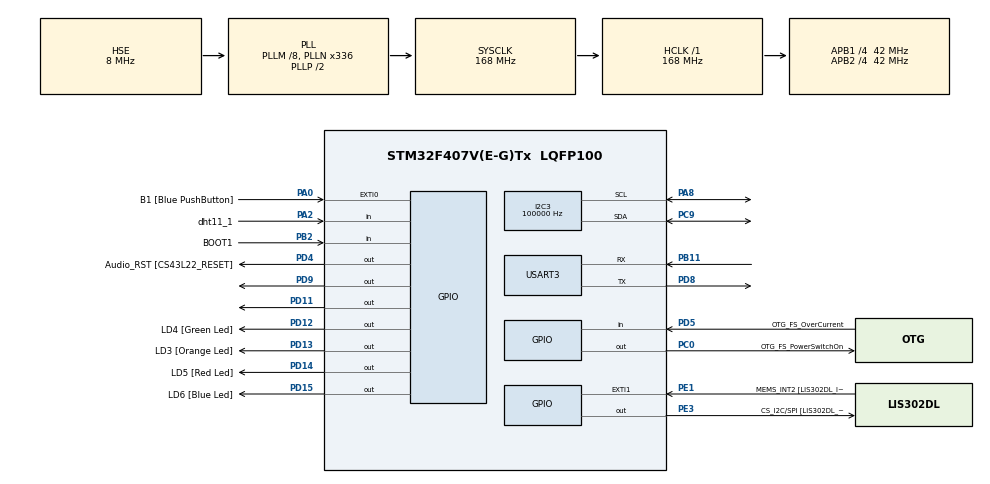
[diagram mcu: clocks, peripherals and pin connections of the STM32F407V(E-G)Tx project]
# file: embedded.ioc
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FREERTOS.Tasks01=defaultTask,0,128,StartDefaultTask,Default,NULL,Dynamic,NULL,NULL;myTask02,0,128,StartTask02,Default,NULL,Dynamic,NULL,NULL;alarmTrigTask,0,128,alarmTrigHandler,Default,NULL,Dynamic,NULL,NULL;dataLogTask,0,128,dataLogHandler,Default,NULL,Dynamic,NULL,NULL
I2C3.ClockSpeed=100000
Mcu.Family=STM32F4
Mcu.Name=STM32F407V(E-G)Tx
Mcu.Package=LQFP100
NVIC.PriorityGroup=NVIC_PRIORITYGROUP_4
NVIC.TIM3_IRQn=true\:5\:0\:false\:false\:true\:true\:true\:true
NVIC.USART3_IRQn=true\:5\:0\:false\:false\:true\:true\:true\:true
PA0-WKUP.GPIO_Label=B1 [Blue PushButton]
PA0-WKUP.GPIO_ModeDefaultEXTI=GPIO_MODE_EVT_RISING
PA0-WKUP.GPIO_PuPd=GPIO_NOPULL
PA0-WKUP.Signal=GPXTI0
PA10.GPIO_Label=OTG_FS_ID
PA10.GPIO_Mode=GPIO_MODE_AF_PP
PA10.GPIO_PuPd=GPIO_NOPULL
PA10.GPIO_Speed=GPIO_SPEED_FREQ_LOW
PA10.Signal=USB_OTG_FS_ID
PA11.GPIO_Label=OTG_FS_DM
PA11.GPIO_Mode=GPIO_MODE_AF_PP
PA11.GPIO_PuPd=GPIO_NOPULL
PA11.GPIO_Speed=GPIO_SPEED_FREQ_LOW
PA11.Signal=USB_OTG_FS_DM
PA12.GPIO_Label=OTG_FS_DP
PA12.GPIO_Mode=GPIO_MODE_AF_PP
PA12.GPIO_PuPd=GPIO_NOPULL
PA12.GPIO_Speed=GPIO_SPEED_FREQ_LOW
PA12.Signal=USB_OTG_FS_DP
PA13.GPIO_Label=SWDIO
PA13.Mode=Serial_Wire
PA13.Signal=SYS_JTMS-SWDIO
PA14.GPIO_Label=SWCLK
PA14.Mode=Serial_Wire
PA14.Signal=SYS_JTCK-SWCLK
PA2.GPIO_Label=dht11_1
PA2.Signal=GPIO_Input
PA4.GPIO_Label=I2S3_WS [CS43L22_LRCK]
PA4.GPIO_Mode=GPIO_MODE_AF_PP
PA4.GPIO_PuPd=GPIO_NOPULL
PA4.GPIO_Speed=GPIO_SPEED_FREQ_LOW
PA4.Signal=I2S3_WS
PA5.GPIO_Label=SPI1_SCK [LIS302DL_SCL/SPC]
PA5.GPIO_Mode=GPIO_MODE_AF_PP
PA5.GPIO_PuPd=GPIO_NOPULL
PA5.GPIO_Speed=GPIO_SPEED_FREQ_LOW
PA5.Signal=SPI1_SCK
PA6.GPIO_Label=SPI1_MISO [LIS302DL_SDO]
PA6.GPIO_Mode=GPIO_MODE_AF_PP
PA6.GPIO_PuPd=GPIO_NOPULL
PA6.GPIO_Speed=GPIO_SPEED_FREQ_LOW
PA6.Signal=SPI1_MISO
PA7.GPIO_Label=SPI1_MOSI [LIS302DL_SDA/SDI/SDO]
PA7.GPIO_Mode=GPIO_MODE_AF_PP
PA7.GPIO_PuPd=GPIO_NOPULL
PA7.GPIO_Speed=GPIO_SPEED_FREQ_LOW
PA7.Signal=SPI1_MOSI
PA8.Mode=I2C
PA8.Signal=I2C3_SCL
PA9.GPIO_Label=VBUS_FS
PA9.GPIO_Mode=GPIO_MODE_INPUT
PA9.GPIO_PuPd=GPIO_NOPULL
PA9.Signal=USB_OTG_FS_VBUS
PB10.GPIO_Label=CLK_IN [MP45DT02_CLK]
PB10.GPIO_Mode=GPIO_MODE_AF_PP
PB10.GPIO_PuPd=GPIO_NOPULL
PB10.GPIO_Speed=GPIO_SPEED_FREQ_LOW
PB10.Signal=I2S2_CK
PB11.Mode=Asynchronous
PB11.Signal=USART3_RX
PB2.GPIO_Label=BOOT1
PB2.GPIO_Mode=GPIO_MODE_INPUT
PB2.GPIO_PuPd=GPIO_NOPULL
PB2.Signal=GPIO_Input
PB3.GPIO_Label=SWO
PB3.Signal=SYS_JTDO-SWO
PB6.GPIO_Label=Audio_SCL [CS43L22_SCL]
PB6.GPIO_Mode=GPIO_MODE_AF_OD
PB6.GPIO_Pu=GPIO_PULLUP
PB6.GPIO_PuPd=GPIO_NOPULL
PB6.GPIO_Speed=GPIO_SPEED_FREQ_LOW
PB6.Signal=I2C1_SCL
PB9.GPIO_Label=Audio_SDA [CS43L22_SDA]
PB9.GPIO_Mode=GPIO_MODE_AF_OD
PB9.GPIO_Pu=GPIO_PULLUP
PB9.GPIO_PuPd=GPIO_NOPULL
PB9.GPIO_Speed=GPIO_SPEED_FREQ_LOW
PB9.Signal=I2C1_SDA
PC0.GPIO_Label=OTG_FS_PowerSwitchOn
PC0.GPIO_PuPd=GPIO_NOPULL
PC0.GPIO_Speed=GPIO_SPEED_FREQ_LOW
PC0.PinState=GPIO_PIN_SET
PC0.Signal=GPIO_Output
PC10.GPIO_Label=I2S3_SCK [CS43L22_SCLK]
PC10.GPIO_Mode=GPIO_MODE_AF_PP
PC10.GPIO_PuPd=GPIO_NOPULL
PC10.GPIO_Speed=GPIO_SPEED_FREQ_LOW
PC10.Signal=I2S3_CK
PC12.GPIO_Label=I2S3_SD [CS43L22_SDIN]
PC12.GPIO_Mode=GPIO_MODE_AF_PP
PC12.GPIO_PuPd=GPIO_NOPULL
PC12.GPIO_Speed=GPIO_SPEED_FREQ_LOW
PC12.Signal=I2S3_SD
PC14-OSC32_IN.GPIO_Label=PC14-OSC32_IN
PC14-OSC32_IN.Mode=LSE-External-Oscillator
PC14-OSC32_IN.Signal=RCC_OSC32_IN
PC15-OSC32_OUT.GPIO_Label=PC15-OSC32_OUT
PC15-OSC32_OUT.Mode=LSE-External-Oscillator
PC15-OSC32_OUT.Signal=RCC_OSC32_OUT
PC3.GPIO_Label=PDM_OUT [MP45DT02_DOUT]
PC3.GPIO_Mode=GPIO_MODE_AF_PP
PC3.GPIO_PuPd=GPIO_NOPULL
PC3.GPIO_Speed=GPIO_SPEED_FREQ_LOW
PC3.Signal=I2S2_SD
PC7.GPIO_Label=I2S3_MCK [CS43L22_MCLK]
PC7.GPIO_Mode=GPIO_MODE_AF_PP
PC7.GPIO_PuPd=GPIO_NOPULL
PC7.GPIO_Speed=GPIO_SPEED_FREQ_LOW
PC7.Signal=I2S3_MCK
PC9.Mode=I2C
PC9.Signal=I2C3_SDA
PD11.Signal=GPIO_Output
PD12.GPIO_Label=LD4 [Green Led]
PD12.GPIO_PuPd=GPIO_NOPULL
PD12.GPIO_Speed=GPIO_SPEED_FREQ_LOW
PD12.Signal=GPIO_Output
PD13.GPIO_Label=LD3 [Orange Led]
PD13.GPIO_PuPd=GPIO_NOPULL
PD13.GPIO_Speed=GPIO_SPEED_FREQ_LOW
PD13.Signal=GPIO_Output
PD14.GPIO_Label=LD5 [Red Led]
PD14.GPIO_PuPd=GPIO_NOPULL
PD14.GPIO_Speed=GPIO_SPEED_FREQ_LOW
PD14.Signal=GPIO_Output
PD15.GPIO_Label=LD6 [Blue Led]
PD15.GPIO_PuPd=GPIO_NOPULL
PD15.GPIO_Speed=GPIO_SPEED_FREQ_LOW
PD15.Signal=GPIO_Output
PD4.GPIO_Label=Audio_RST [CS43L22_RESET]
PD4.GPIO_PuPd=GPIO_NOPULL
PD4.GPIO_Speed=GPIO_SPEED_FREQ_LOW
PD4.Signal=GPIO_Output
PD5.GPIO_Label=OTG_FS_OverCurrent
PD5.GPIO_Mode=GPIO_MODE_INPUT
PD5.GPIO_PuPd=GPIO_NOPULL
PD5.Signal=GPIO_Input
PD8.Mode=Asynchronous
PD8.Signal=USART3_TX
PD9.Signal=GPIO_Output
PE1.GPIO_Label=MEMS_INT2 [LIS302DL_INT2]
PE1.GPIO_ModeDefaultEXTI=GPIO_MODE_EVT_RISING
PE1.GPIO_PuPd=GPIO_NOPULL
PE1.Signal=GPXTI1
PE3.GPIO_Label=CS_I2C/SPI [LIS302DL_CS_I2C/SPI]
PE3.GPIO_PuPd=GPIO_NOPULL
PE3.GPIO_Speed=GPIO_SPEED_FREQ_LOW
PE3.Signal=GPIO_Output
PH0-OSC_IN.GPIO_Label=PH0-OSC_IN
PH0-OSC_IN.Mode=HSE-External-Oscillator
PH0-OSC_IN.Signal=RCC_OSC_IN
PH1-OSC_OUT.GPIO_Label=PH1-OSC_OUT
PH1-OSC_OUT.Mode=HSE-External-Oscillator
PH1-OSC_OUT.Signal=RCC_OSC_OUT
ProjectManager.HeapSize=0x200
ProjectManager.StackSize=0x400
ProjectManager.TargetToolchain=EWARM V8.32
RCC.48MHZClocksFreq_Value=48000000
RCC.AHBFreq_Value=168000000
RCC.APB1CLKDivider=RCC_HCLK_DIV4
RCC.APB1Freq_Value=42000000
RCC.APB1TimFreq_Value=84000000
RCC.APB2CLKDivider=RCC_HCLK_DIV4
RCC.APB2Freq_Value=42000000
RCC.APB2TimFreq_Value=84000000
RCC.CortexFreq_Value=168000000
RCC.HCLKFreq_Value=168000000
RCC.HSE_VALUE=8000000
RCC.HSI_VALUE=16000000
RCC.PLLM=8
RCC.PLLN=336
RCC.PLLQ=7
RCC.PLLSourceVirtual=RCC_PLLSOURCE_HSE
RCC.RCC_RTC_Clock_SourceVirtual=RCC_RTCCLKSOURCE_LSE
RCC.SYSCLKFreq_VALUE=168000000
RCC.SYSCLKSource=RCC_SYSCLKSOURCE_PLLCLK
RCC.VCOOutputFreq_Value=336000000
RTC.Date=25
RTC.Format=RTC_FORMAT_BIN
RTC.HourFormat=RTC_HOURFORMAT_24
RTC.Hours=20
RTC.Minutes=36
RTC.WeekDay=RTC_WEEKDAY_SATURDAY
RTC.Year=25
TIM2.Period=65535-1
TIM2.Prescaler=84-1
TIM2.TIM_MasterOutputTrigger=TIM_TRGO_UPDATE
TIM3.Period=3000
TIM3.Prescaler=168
USART3.VirtualMode=VM_ASYNC
VP_FREERTOS_VS_CMSIS_V1.Mode=CMSIS_V1
VP_RTC_VS_RTC_Activate.Mode=RTC_Enabled
VP_RTC_VS_RTC_Calendar.Mode=RTC_Calendar
VP_TIM2_VS_ClockSourceINT.Mode=Internal
VP_TIM3_VS_ClockSourceINT.Mode=Internal
board=STM32F407G-DISC1

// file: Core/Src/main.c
/* USER CODE BEGIN Header */
/**
  ******************************************************************************
  * @file           : main.c
  * @brief          : Main program body
  ******************************************************************************
  * @attention
  *
  * Copyright (c) 2025 STMicroelectronics.
  * All rights reserved.
  *
  * This software is licensed under terms that can be found in the LICENSE file
  * in the root directory of this software component.
  * If no LICENSE file comes with this software, it is provided AS-IS.
  *
  ******************************************************************************
  */
/* USER CODE END Header */
/*include source file's header file*/
#include "main.h"
/*include operating system files*/
#include "cmsis_os.h"
/*include MCU HAL RTC file*/
#include "stm32f4xx_hal_rtc.h"

/* USER CODE BEGIN Includes */
/*include standard C library header files*/
#include <stdio.h>
#include <stdlib.h>
#include <string.h>
#include <stdint.h>
#include <stdbool.h>

/*include user defined header files*/
#include "uart.h"
#include "tempSensor.h"
#include "userInterface.h"
#include "rtc_setting.h"
#include "eeprom.h"
#include "common.h"

bool gbIsLogToSend;
char s_print_data[100];
uint8_t data_len;

uint8_t guLowThreshold;
uint8_t guHighThreshold;

/* USER CODE END Includes */

I2C_HandleTypeDef hi2c3;

RTC_HandleTypeDef hrtc;

TIM_HandleTypeDef htim2;
TIM_HandleTypeDef htim3;

UART_HandleTypeDef huart3;

osThreadId defaultTaskHandle;
osThreadId myTask02Handle;
osThreadId alarmTrigTaskHandle;
osThreadId dataLogTaskHandle;

void SystemClock_Config(void);
static void MX_GPIO_Init(void);
static void MX_TIM2_Init(void);
static void MX_TIM3_Init(void);
static void MX_USART3_UART_Init(void);
static void MX_I2C3_Init(void);
static void MX_RTC_Init(void);
void StartDefaultTask(void const * argument);
void StartTask02(void const * argument);
void alarmTrigHandler(void const * argument);
void dataLogHandler(void const * argument);

int main(void)
{

  /* MCU Configuration--------------------------------------------------------*/

  /* Reset of all peripherals, Initializes the Flash interface and the Systick. */
  HAL_Init();

  /* Configure the system clock */
  SystemClock_Config();

  /* Initialize all configured peripherals */
  MX_GPIO_Init();
  MX_TIM2_Init();
  MX_TIM3_Init();
  MX_USART3_UART_Init();
  MX_I2C3_Init();
  MX_RTC_Init();

  /* USER CODE BEGIN 2 */
  //initialize all global variables
  initGlobalVars();
  //initialize UART receive interrupt
  initUARTReceive();
  //initialize temperature sensor settings
  initTempSensor(&gsTempSensor, &htim2, dht11_1_GPIO_Port, dht11_1_Pin);
  /* USER CODE END 2 */

  /* Create the thread(s) */
  /* definition and creation of defaultTask */
  osThreadDef(defaultTask, StartDefaultTask, osPriorityNormal, 0, 128);
  defaultTaskHandle = osThreadCreate(osThread(defaultTask), NULL);

  /* definition and creation of myTask02 */
  osThreadDef(myTask02, StartTask02, osPriorityNormal, 0, 128);
  myTask02Handle = osThreadCreate(osThread(myTask02), NULL);

  /* definition and creation of alarmTrigTask */
  osThreadDef(alarmTrigTask, alarmTrigHandler, osPriorityNormal, 0, 128);
  alarmTrigTaskHandle = osThreadCreate(osThread(alarmTrigTask), NULL);

  /* definition and creation of dataLogTask */
  osThreadDef(dataLogTask, dataLogHandler, osPriorityNormal, 0, 128);
  dataLogTaskHandle = osThreadCreate(osThread(dataLogTask), NULL);

  /* Start scheduler */
  osKernelStart();

  /* We should never get here as control is now taken by the scheduler */
  /* Infinite loop */
  while (1)
  {

  }
}

void SystemClock_Config(void)
{
  RCC_OscInitTypeDef RCC_OscInitStruct = {0};
  RCC_ClkInitTypeDef RCC_ClkInitStruct = {0};

  /** Configure the main internal regulator output voltage
  */
  __HAL_RCC_PWR_CLK_ENABLE();
  __HAL_PWR_VOLTAGESCALING_CONFIG(PWR_REGULATOR_VOLTAGE_SCALE1);
  /** Initializes the RCC Oscillators according to the specified parameters
  * in the RCC_OscInitTypeDef structure.
  */
  RCC_OscInitStruct.OscillatorType = RCC_OSCILLATORTYPE_HSE|RCC_OSCILLATORTYPE_LSE;
  RCC_OscInitStruct.HSEState = RCC_HSE_ON;
  RCC_OscInitStruct.LSEState = RCC_LSE_ON;
  RCC_OscInitStruct.PLL.PLLState = RCC_PLL_ON;
  RCC_OscInitStruct.PLL.PLLSource = RCC_PLLSOURCE_HSE;
  RCC_OscInitStruct.PLL.PLLM = 8;
  RCC_OscInitStruct.PLL.PLLN = 336;
  RCC_OscInitStruct.PLL.PLLP = RCC_PLLP_DIV2;
  RCC_OscInitStruct.PLL.PLLQ = 7;
  if (HAL_RCC_OscConfig(&RCC_OscInitStruct) != HAL_OK)
  {
    Error_Handler();
  }
  /** Initializes the CPU, AHB and APB buses clocks
  */
  RCC_ClkInitStruct.ClockType = RCC_CLOCKTYPE_HCLK|RCC_CLOCKTYPE_SYSCLK
                              |RCC_CLOCKTYPE_PCLK1|RCC_CLOCKTYPE_PCLK2;
  RCC_ClkInitStruct.SYSCLKSource = RCC_SYSCLKSOURCE_PLLCLK;
  RCC_ClkInitStruct.AHBCLKDivider = RCC_SYSCLK_DIV1;
  RCC_ClkInitStruct.APB1CLKDivider = RCC_HCLK_DIV4;
  RCC_ClkInitStruct.APB2CLKDivider = RCC_HCLK_DIV4;

  if (HAL_RCC_ClockConfig(&RCC_ClkInitStruct, FLASH_LATENCY_5) != HAL_OK)
  {
    Error_Handler();
  }
}

static void MX_I2C3_Init(void)
{

  hi2c3.Instance = I2C3;
  hi2c3.Init.ClockSpeed = 100000;
  hi2c3.Init.DutyCycle = I2C_DUTYCYCLE_2;
  hi2c3.Init.OwnAddress1 = 0;
  hi2c3.Init.AddressingMode = I2C_ADDRESSINGMODE_7BIT;
  hi2c3.Init.DualAddressMode = I2C_DUALADDRESS_DISABLE;
  hi2c3.Init.OwnAddress2 = 0;
  hi2c3.Init.GeneralCallMode = I2C_GENERALCALL_DISABLE;
  hi2c3.Init.NoStretchMode = I2C_NOSTRETCH_DISABLE;
  if (HAL_I2C_Init(&hi2c3) != HAL_OK)
  {
    Error_Handler();
  }

}

static void MX_RTC_Init(void)
{

  /* USER CODE BEGIN RTC_Init 0 */
  uint8_t lbIsRTCSet;
  /* USER CODE END RTC_Init 0 */

  RTC_TimeTypeDef sTime = {0};
  RTC_DateTypeDef sDate = {0};

  /** Initialize RTC Only
  */
  hrtc.Instance = RTC;
  hrtc.Init.HourFormat = RTC_HOURFORMAT_24;
  hrtc.Init.AsynchPrediv = 127;
  hrtc.Init.SynchPrediv = 255;
  hrtc.Init.OutPut = RTC_OUTPUT_DISABLE;
  hrtc.Init.OutPutPolarity = RTC_OUTPUT_POLARITY_HIGH;
  hrtc.Init.OutPutType = RTC_OUTPUT_TYPE_OPENDRAIN;
  if (HAL_RTC_Init(&hrtc) != HAL_OK)
  {
    Error_Handler();
  }

  /* USER CODE BEGIN Check_RTC_BKUP */

  eepromReadBytes(ADDR_ISRTCSET, &lbIsRTCSet, sizeof(lbIsRTCSet));

  if (lbIsRTCSet == 0)
  {
      sTime.Hours = 0;
      sTime.Minutes = 51;
      sTime.Seconds = 0;
      sTime.DayLightSaving = RTC_DAYLIGHTSAVING_NONE;
      sTime.StoreOperation = RTC_STOREOPERATION_RESET;
      if (HAL_RTC_SetTime(&hrtc, &sTime, RTC_FORMAT_BIN) != HAL_OK)
      {
          Error_Handler();
      }
      sDate.WeekDay = RTC_WEEKDAY_SUNDAY;
      sDate.Month = RTC_MONTH_JANUARY;
      sDate.Date = 26;
      sDate.Year = 25;

      if (HAL_RTC_SetDate(&hrtc, &sDate, RTC_FORMAT_BIN) != HAL_OK)
      {
          Error_Handler();
      }

      lbIsRTCSet = 1;
      eepromWriteBytes(ADDR_ISRTCSET, &lbIsRTCSet, sizeof(lbIsRTCSet));
  }

  /* USER CODE END Check_RTC_BKUP */

  /** Initialize RTC and set the Time and Date
  */

  /* USER CODE BEGIN RTC_Init 2 */

    RCC_OscInitTypeDef RCC_OscInitStruct = {0};
    RCC_PeriphCLKInitTypeDef PeriphClkInitStruct = {0};

    // LSE Oscillator initialization
    RCC_OscInitStruct.OscillatorType = RCC_OSCILLATORTYPE_LSE;
    RCC_OscInitStruct.LSEState = RCC_LSE_ON;
    RCC_OscInitStruct.PLL.PLLState = RCC_PLL_NONE;
    HAL_RCC_OscConfig(&RCC_OscInitStruct);

    // RTC Clock Source configuration
    PeriphClkInitStruct.PeriphClockSelection = RCC_PERIPHCLK_RTC;
    PeriphClkInitStruct.RTCClockSelection = RCC_RTCCLKSOURCE_LSE;
    HAL_RCCEx_PeriphCLKConfig(&PeriphClkInitStruct);

    // Enable RTC
    __HAL_RCC_RTC_ENABLE();

  /* USER CODE END RTC_Init 2 */

}

static void MX_TIM2_Init(void)
{

  TIM_ClockConfigTypeDef sClockSourceConfig = {0};
  TIM_MasterConfigTypeDef sMasterConfig = {0};

  htim2.Instance = TIM2;
  htim2.Init.Prescaler = 84-1;
  htim2.Init.CounterMode = TIM_COUNTERMODE_UP;
  htim2.Init.Period = 65535-1;
  htim2.Init.ClockDivision = TIM_CLOCKDIVISION_DIV1;
  htim2.Init.AutoReloadPreload = TIM_AUTORELOAD_PRELOAD_DISABLE;
  if (HAL_TIM_Base_Init(&htim2) != HAL_OK)
  {
    Error_Handler();
  }
  sClockSourceConfig.ClockSource = TIM_CLOCKSOURCE_INTERNAL;
  if (HAL_TIM_ConfigClockSource(&htim2, &sClockSourceConfig) != HAL_OK)
  {
    Error_Handler();
  }
  sMasterConfig.MasterOutputTrigger = TIM_TRGO_UPDATE;
  sMasterConfig.MasterSlaveMode = TIM_MASTERSLAVEMODE_DISABLE;
  if (HAL_TIMEx_MasterConfigSynchronization(&htim2, &sMasterConfig) != HAL_OK)
  {
    Error_Handler();
  }

}

static void MX_TIM3_Init(void)
{

  TIM_ClockConfigTypeDef sClockSourceConfig = {0};
  TIM_MasterConfigTypeDef sMasterConfig = {0};

  htim3.Instance = TIM3;
  htim3.Init.Prescaler = 168;
  htim3.Init.CounterMode = TIM_COUNTERMODE_UP;
  htim3.Init.Period = 3000;
  htim3.Init.ClockDivision = TIM_CLOCKDIVISION_DIV1;
  htim3.Init.AutoReloadPreload = TIM_AUTORELOAD_PRELOAD_DISABLE;
  if (HAL_TIM_Base_Init(&htim3) != HAL_OK)
  {
    Error_Handler();
  }
  sClockSourceConfig.ClockSource = TIM_CLOCKSOURCE_INTERNAL;
  if (HAL_TIM_ConfigClockSource(&htim3, &sClockSourceConfig) != HAL_OK)
  {
    Error_Handler();
  }
  sMasterConfig.MasterOutputTrigger = TIM_TRGO_RESET;
  sMasterConfig.MasterSlaveMode = TIM_MASTERSLAVEMODE_DISABLE;
  if (HAL_TIMEx_MasterConfigSynchronization(&htim3, &sMasterConfig) != HAL_OK)
  {
    Error_Handler();
  }

}

static void MX_USART3_UART_Init(void)
{

  huart3.Instance = USART3;
  huart3.Init.BaudRate = 115200;
  huart3.Init.WordLength = UART_WORDLENGTH_8B;
  huart3.Init.StopBits = UART_STOPBITS_1;
  huart3.Init.Parity = UART_PARITY_NONE;
  huart3.Init.Mode = UART_MODE_TX_RX;
  huart3.Init.HwFlowCtl = UART_HWCONTROL_NONE;
  huart3.Init.OverSampling = UART_OVERSAMPLING_16;
  if (HAL_UART_Init(&huart3) != HAL_OK)
  {
    Error_Handler();
  }

}

static void MX_GPIO_Init(void)
{
  GPIO_InitTypeDef GPIO_InitStruct = {0};

  /* GPIO Ports Clock Enable */
  __HAL_RCC_GPIOE_CLK_ENABLE();
  __HAL_RCC_GPIOC_CLK_ENABLE();
  __HAL_RCC_GPIOH_CLK_ENABLE();
  __HAL_RCC_GPIOA_CLK_ENABLE();
  __HAL_RCC_GPIOB_CLK_ENABLE();
  __HAL_RCC_GPIOD_CLK_ENABLE();

  /*Configure GPIO pin Output Level */
  HAL_GPIO_WritePin(CS_I2C_SPI_GPIO_Port, CS_I2C_SPI_Pin, GPIO_PIN_RESET);

  /*Configure GPIO pin Output Level */
  HAL_GPIO_WritePin(OTG_FS_PowerSwitchOn_GPIO_Port, OTG_FS_PowerSwitchOn_Pin, GPIO_PIN_SET);

  /*Configure GPIO pin Output Level */
  HAL_GPIO_WritePin(GPIOD, GPIO_PIN_9|GPIO_PIN_11|LD4_Pin|LD3_Pin
                          |LD5_Pin|LD6_Pin|Audio_RST_Pin, GPIO_PIN_RESET);

  /*Configure GPIO pin : CS_I2C_SPI_Pin */
  GPIO_InitStruct.Pin = CS_I2C_SPI_Pin;
  GPIO_InitStruct.Mode = GPIO_MODE_OUTPUT_PP;
  GPIO_InitStruct.Pull = GPIO_NOPULL;
  GPIO_InitStruct.Speed = GPIO_SPEED_FREQ_LOW;
  HAL_GPIO_Init(CS_I2C_SPI_GPIO_Port, &GPIO_InitStruct);

  /*Configure GPIO pin : OTG_FS_PowerSwitchOn_Pin */
  GPIO_InitStruct.Pin = OTG_FS_PowerSwitchOn_Pin;
  GPIO_InitStruct.Mode = GPIO_MODE_OUTPUT_PP;
  GPIO_InitStruct.Pull = GPIO_NOPULL;
  GPIO_InitStruct.Speed = GPIO_SPEED_FREQ_LOW;
  HAL_GPIO_Init(OTG_FS_PowerSwitchOn_GPIO_Port, &GPIO_InitStruct);

  /*Configure GPIO pin : PDM_OUT_Pin */
  GPIO_InitStruct.Pin = PDM_OUT_Pin;
  GPIO_InitStruct.Mode = GPIO_MODE_AF_PP;
  GPIO_InitStruct.Pull = GPIO_NOPULL;
  GPIO_InitStruct.Speed = GPIO_SPEED_FREQ_LOW;
  GPIO_InitStruct.Alternate = GPIO_AF5_SPI2;
  HAL_GPIO_Init(PDM_OUT_GPIO_Port, &GPIO_InitStruct);

  /*Configure GPIO pin : B1_Pin */
  GPIO_InitStruct.Pin = B1_Pin;
  GPIO_InitStruct.Mode = GPIO_MODE_EVT_RISING;
  GPIO_InitStruct.Pull = GPIO_NOPULL;
  HAL_GPIO_Init(B1_GPIO_Port, &GPIO_InitStruct);

  /*Configure GPIO pin : dht11_1_Pin */
  GPIO_InitStruct.Pin = dht11_1_Pin;
  GPIO_InitStruct.Mode = GPIO_MODE_INPUT;
  GPIO_InitStruct.Pull = GPIO_NOPULL;
  HAL_GPIO_Init(dht11_1_GPIO_Port, &GPIO_InitStruct);

  /*Configure GPIO pin : I2S3_WS_Pin */
  GPIO_InitStruct.Pin = I2S3_WS_Pin;
  GPIO_InitStruct.Mode = GPIO_MODE_AF_PP;
  GPIO_InitStruct.Pull = GPIO_NOPULL;
  GPIO_InitStruct.Speed = GPIO_SPEED_FREQ_LOW;
  GPIO_InitStruct.Alternate = GPIO_AF6_SPI3;
  HAL_GPIO_Init(I2S3_WS_GPIO_Port, &GPIO_InitStruct);

  /*Configure GPIO pins : SPI1_SCK_Pin SPI1_MISO_Pin SPI1_MOSI_Pin */
  GPIO_InitStruct.Pin = SPI1_SCK_Pin|SPI1_MISO_Pin|SPI1_MOSI_Pin;
  GPIO_InitStruct.Mode = GPIO_MODE_AF_PP;
  GPIO_InitStruct.Pull = GPIO_NOPULL;
  GPIO_InitStruct.Speed = GPIO_SPEED_FREQ_LOW;
  GPIO_InitStruct.Alternate = GPIO_AF5_SPI1;
  HAL_GPIO_Init(GPIOA, &GPIO_InitStruct);

  /*Configure GPIO pin : BOOT1_Pin */
  GPIO_InitStruct.Pin = BOOT1_Pin;
  GPIO_InitStruct.Mode = GPIO_MODE_INPUT;
  GPIO_InitStruct.Pull = GPIO_NOPULL;
  HAL_GPIO_Init(BOOT1_GPIO_Port, &GPIO_InitStruct);

  /*Configure GPIO pin : CLK_IN_Pin */
  GPIO_InitStruct.Pin = CLK_IN_Pin;
  GPIO_InitStruct.Mode = GPIO_MODE_AF_PP;
  GPIO_InitStruct.Pull = GPIO_NOPULL;
  GPIO_InitStruct.Speed = GPIO_SPEED_FREQ_LOW;
  GPIO_InitStruct.Alternate = GPIO_AF5_SPI2;
  HAL_GPIO_Init(CLK_IN_GPIO_Port, &GPIO_InitStruct);

  /*Configure GPIO pins : PD9 PD11 LD4_Pin LD3_Pin
                           LD5_Pin LD6_Pin Audio_RST_Pin */
  GPIO_InitStruct.Pin = GPIO_PIN_9|GPIO_PIN_11|LD4_Pin|LD3_Pin
                          |LD5_Pin|LD6_Pin|Audio_RST_Pin;
  GPIO_InitStruct.Mode = GPIO_MODE_OUTPUT_PP;
  GPIO_InitStruct.Pull = GPIO_NOPULL;
  GPIO_InitStruct.Speed = GPIO_SPEED_FREQ_LOW;
  HAL_GPIO_Init(GPIOD, &GPIO_InitStruct);

  /*Configure GPIO pins : I2S3_MCK_Pin I2S3_SCK_Pin I2S3_SD_Pin */
  GPIO_InitStruct.Pin = I2S3_MCK_Pin|I2S3_SCK_Pin|I2S3_SD_Pin;
  GPIO_InitStruct.Mode = GPIO_MODE_AF_PP;
  GPIO_InitStruct.Pull = GPIO_NOPULL;
  GPIO_InitStruct.Speed = GPIO_SPEED_FREQ_LOW;
  GPIO_InitStruct.Alternate = GPIO_AF6_SPI3;
  HAL_GPIO_Init(GPIOC, &GPIO_InitStruct);

  /*Configure GPIO pin : VBUS_FS_Pin */
  GPIO_InitStruct.Pin = VBUS_FS_Pin;
  GPIO_InitStruct.Mode = GPIO_MODE_INPUT;
  GPIO_InitStruct.Pull = GPIO_NOPULL;
  HAL_GPIO_Init(VBUS_FS_GPIO_Port, &GPIO_InitStruct);

  /*Configure GPIO pins : OTG_FS_ID_Pin OTG_FS_DM_Pin OTG_FS_DP_Pin */
  GPIO_InitStruct.Pin = OTG_FS_ID_Pin|OTG_FS_DM_Pin|OTG_FS_DP_Pin;
  GPIO_InitStruct.Mode = GPIO_MODE_AF_PP;
  GPIO_InitStruct.Pull = GPIO_NOPULL;
  GPIO_InitStruct.Speed = GPIO_SPEED_FREQ_LOW;
  GPIO_InitStruct.Alternate = GPIO_AF10_OTG_FS;
  HAL_GPIO_Init(GPIOA, &GPIO_InitStruct);

  /*Configure GPIO pin : OTG_FS_OverCurrent_Pin */
  GPIO_InitStruct.Pin = OTG_FS_OverCurrent_Pin;
  GPIO_InitStruct.Mode = GPIO_MODE_INPUT;
  GPIO_InitStruct.Pull = GPIO_NOPULL;
  HAL_GPIO_Init(OTG_FS_OverCurrent_GPIO_Port, &GPIO_InitStruct);

  /*Configure GPIO pins : Audio_SCL_Pin Audio_SDA_Pin */
  GPIO_InitStruct.Pin = Audio_SCL_Pin|Audio_SDA_Pin;
  GPIO_InitStruct.Mode = GPIO_MODE_AF_OD;
  GPIO_InitStruct.Pull = GPIO_PULLUP;
  GPIO_InitStruct.Speed = GPIO_SPEED_FREQ_LOW;
  GPIO_InitStruct.Alternate = GPIO_AF4_I2C1;
  HAL_GPIO_Init(GPIOB, &GPIO_InitStruct);

  /*Configure GPIO pin : MEMS_INT2_Pin */
  GPIO_InitStruct.Pin = MEMS_INT2_Pin;
  GPIO_InitStruct.Mode = GPIO_MODE_EVT_RISING;
  GPIO_InitStruct.Pull = GPIO_NOPULL;
  HAL_GPIO_Init(MEMS_INT2_GPIO_Port, &GPIO_InitStruct);

}

void StartDefaultTask(void const * argument)
{
  /* USER CODE BEGIN 5 */

  /* Infinite loop */
  for(;;)
  {
      //parse and check the received message from the user to see whether it is valid
      data_len = checkReceivedMsg(gsUartRcvPack.maDataArr, gsUartRcvPack.muDataLen);

      //if the message is valid, no info, otherwise send an error message to the prompt
      if (data_len > 0)
      {
          //send the response message
          uartSend((uint8_t*)s_print_data, data_len);
      }

      //zeroize the message to avoid it reprocessing
      gsUartRcvPack.muDataLen = 0;

      //after 100 ms, repeat the task
      osDelay(100);
  }
  /* USER CODE END 5 */
}

void StartTask02(void const * argument)
{
  /* USER CODE BEGIN StartTask02 */
  char lcDateStr[25];
  char lcTimeStr[10];

  /* Infinite loop */
  for(;;)
  {
      //if no log request from the user
      if (gbIsLogToSend == false)
      {
          //read the temperature data
          gbIsTempRead = (bool) (readTemp(&gsTempSensor));

          //check if the sensor is disconnected
          if (gbIsTempRead == false)
          {
              //prepare the error message to print it
              sprintf(s_print_data, "Sensor Disconnected!");
          }
          //check if the sensor data is invalid
          else if (gsTempSensor.temperature > MAX_TEMP)
          {
              //prepare the error message to print it
              sprintf(s_print_data, "Invalid Sensor Data!");
          }

          //if the sensor data is valid
          else
          {
              //get current date and time
              getCurrentDateAndTime();
              //convert date and time info into a readable format
              convertDateToStr(lcDateStr, &sDate);
              convertTimeToStr(lcTimeStr, &sTime);
              //prepare temperature, date and time info to send
              sprintf(s_print_data, "Temperature:%02u %s %s\n\r", gsTempSensor.temperature, lcDateStr, lcTimeStr);
        }
        //send the prepared message
        uartSend((uint8_t*)s_print_data,strlen((char*)s_print_data));
    }
    //after 1000 ms, repeat the task
    osDelay(1000);
  }
  /* USER CODE END StartTask02 */
}

void alarmTrigHandler(void const * argument)
{
  /* USER CODE BEGIN alarmTrigHandler */
  /* Infinite loop */
  for(;;)
  {
      //if the sensor temperature is lower than low threshold, light GREEN LED, otherwise turn it off
      if (gsTempSensor.temperature < guLowThreshold)
      {
          HAL_GPIO_WritePin(LED_GREEN_PORT, LED_GREEN_PIN, GPIO_PIN_SET);
      }

      else
      {
          HAL_GPIO_WritePin(LED_GREEN_PORT, LED_GREEN_PIN, GPIO_PIN_RESET);
      }
      //if the sensor temperature is higher than high threshold, light RED LED, otherwise turn it off
      if (gsTempSensor.temperature > guHighThreshold)
      {
          HAL_GPIO_WritePin(LED_RED_PORT, LED_RED_PIN, GPIO_PIN_SET);
      }

      else
      {
          HAL_GPIO_WritePin(LED_RED_PORT, LED_RED_PIN, GPIO_PIN_RESET);
      }
      //after 100 ms, repeat the task
      osDelay(100);
  }
  /* USER CODE END alarmTrigHandler */
}

void dataLogHandler(void const * argument)
{
  /* USER CODE BEGIN dataLogHandler */
  /* Infinite loop */
  for(;;)
  {
      //if there is a log request from the user
      if (gbIsLogToSend == false)
      {
          //if the temperature has already been read, record it to EEPROM
          if (gbIsTempRead == true)
          {
            recordLogData();
            gbIsTempRead = false;
          }
      }

      //if there is a log request from the user
      else
      {
          uint16_t luLogAddr = ADDR_OFFSET;
          RTC_TimeTypeDef lsTime = {0};
          RTC_DateTypeDef lsDate = {0};
          uint8_t lsTemp;
          char lcDateStr[25];
          char lcTimeStr[10];
          uint8_t laData[TOTAL_RECORD_SIZE];

          while (luLogAddr < guMemAddr)
          {
            //get the temperature, date and time traits of the current block
            eepromReadBytes(luLogAddr, laData, TOTAL_RECORD_SIZE);
            lsTemp = laData[0];
            lsDate.WeekDay = laData[1];
            lsDate.Month = laData[2];
            lsDate.Date = laData[3];
            lsDate.Year = laData[4];
            lsTime.Hours = laData[5];
            lsTime.Minutes = laData[6];
            lsTime.Seconds = laData[7];

            //convert the data into a readable format
            convertDateToStr(lcDateStr, &lsDate);
            convertTimeToStr(lcTimeStr, &lsTime);
            //prepare the message data
            sprintf(s_print_data, "Temperature:%02u %s %s\n\r", lsTemp, lcDateStr, lcTimeStr);
            //send the message to the user prompt
            uartSend((uint8_t*)s_print_data, strlen((char*)s_print_data));
            //move to the next block
            luLogAddr += TOTAL_RECORD_SIZE;
        }
        //log request has ended
        gbIsLogToSend = false;
    }
    //after 1000 ms, repeat the task
    osDelay(1000);
  }
  /* USER CODE END dataLogHandler */
}

void Error_Handler(void)
{
  __disable_irq();
  while (1)
  {
  }
}
